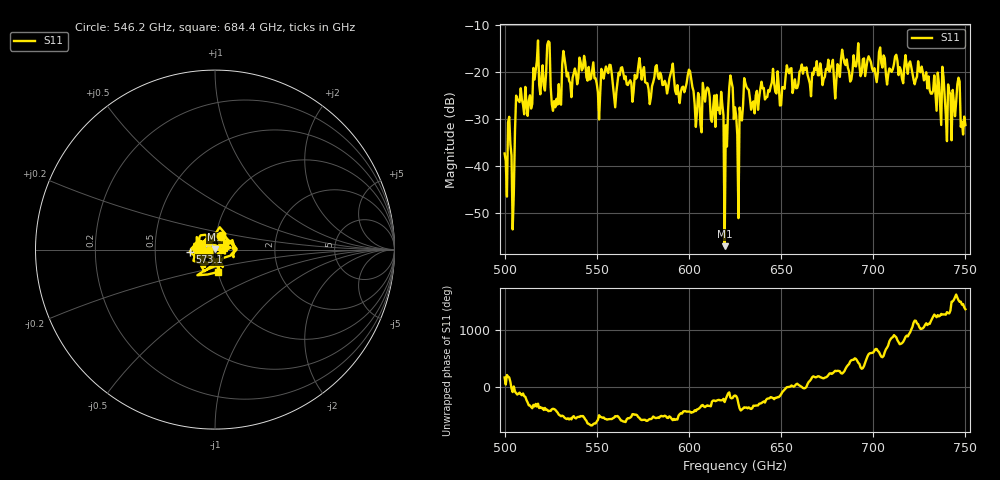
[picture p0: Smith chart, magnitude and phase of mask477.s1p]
!Created with skrf (http://scikit-rf.org).
# GHz S MA R 50.0
!freq magS11 angS11
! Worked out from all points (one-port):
!   401 points, 500 GHz to 750 GHz, reference 50 ohm
!   lowest |S11| = -57.0 dB at 619.4 GHz (marker M1), VSWR 1.00, Z = 50 + j0.138 ohm
!   |S11| at or under -10 dB: start of sweep to end of sweep
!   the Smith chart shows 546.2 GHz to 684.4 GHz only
!   S11 on the Smith chart (normalised r, x): 546.2 GHz: 1.05, +0.16; 573.1 GHz: 0.75, -0.02; 684.4 GHz: 1.00, -0.25
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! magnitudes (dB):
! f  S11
! 500 GHz  -37.3
! 504.4 GHz  -53.5
! 507.5 GHz  -26.1
! 513.8 GHz  -24.9
! 516.9 GHz  -19.5
! 520.6 GHz  -18.5
! 523.8 GHz  -13.4
! 526.9 GHz  -26.2
! 531.2 GHz  -18.4
! 546.2 GHz  -21.6
! 562.5 GHz  -20.7
! 573.1 GHz  -17.0
! 593.8 GHz  -22.8
! 600 GHz  -19.5
! 616.2 GHz  -27.6
! 619.4 GHz  -57.0
! 622.5 GHz  -20.7
! 625 GHz  -27.5
! 627.5 GHz  -27.5
! 631.2 GHz  -23.2
! 634.4 GHz  -26.6
! 656.2 GHz  -24.4
! 684.4 GHz  -18.0
! 687.5 GHz  -22.0
! 718.8 GHz  -20.4
! 741.2 GHz  -24.2
! 745.6 GHz  -22.6
! 750 GHz  -31.3
